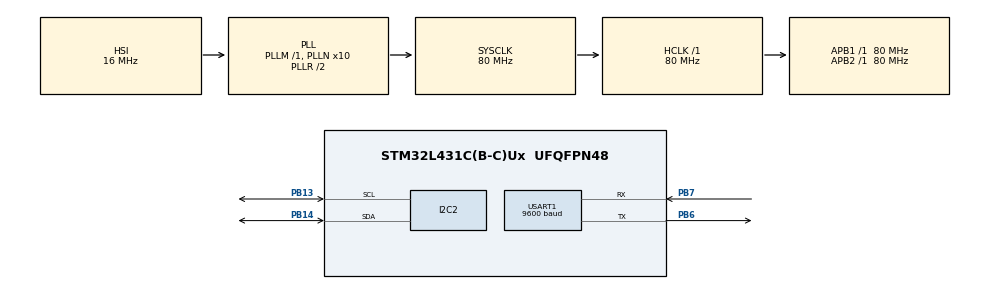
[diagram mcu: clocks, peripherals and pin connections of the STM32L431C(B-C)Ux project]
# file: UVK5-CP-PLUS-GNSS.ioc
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I2C2.I2C_Fall_Time=100
I2C2.I2C_Rise_Time=100
I2C2.OwnAddress=0x23
I2C2.Timing=0x10D19CE4
Mcu.Family=STM32L4
Mcu.Name=STM32L431C(B-C)Ux
Mcu.Package=UFQFPN48
NVIC.I2C2_EV_IRQn=true\:0\:0\:false\:false\:true\:true\:true\:true
NVIC.PriorityGroup=NVIC_PRIORITYGROUP_4
NVIC.TIM2_IRQn=true\:0\:0\:false\:false\:true\:true\:true\:true
NVIC.USART1_IRQn=true\:0\:0\:false\:false\:true\:true\:true\:true
PB13.GPIO_Pu=GPIO_PULLUP
PB13.Mode=I2C
PB13.Signal=I2C2_SCL
PB14.GPIO_Pu=GPIO_PULLUP
PB14.Mode=I2C
PB14.Signal=I2C2_SDA
PB6.Mode=Asynchronous
PB6.Signal=USART1_TX
PB7.Mode=Asynchronous
PB7.Signal=USART1_RX
PC14-OSC32_IN\ (PC14).Mode=LSE-External-Oscillator
PC14-OSC32_IN\ (PC14).Signal=RCC_OSC32_IN
PC15-OSC32_OUT\ (PC15).Mode=LSE-External-Oscillator
PC15-OSC32_OUT\ (PC15).Signal=RCC_OSC32_OUT
ProjectManager.HeapSize=0x200
ProjectManager.StackSize=0x400
ProjectManager.TargetToolchain=MDK-ARM V5.32
RCC.ADCFreq_Value=64000000
RCC.AHBFreq_Value=80000000
RCC.APB1Freq_Value=80000000
RCC.APB1TimFreq_Value=80000000
RCC.APB2Freq_Value=80000000
RCC.APB2TimFreq_Value=80000000
RCC.CortexFreq_Value=80000000
RCC.HCLKFreq_Value=80000000
RCC.HSE_VALUE=8000000
RCC.HSI48_VALUE=48000000
RCC.HSI_VALUE=16000000
RCC.MSI_VALUE=4000000
RCC.PLLN=10
RCC.PLLSourceVirtual=RCC_PLLSOURCE_HSI
RCC.RTCClockSelection=RCC_RTCCLKSOURCE_LSE
RCC.SYSCLKFreq_VALUE=80000000
RCC.SYSCLKSource=RCC_SYSCLKSOURCE_PLLCLK
RCC.VCOOutputFreq_Value=160000000
RTC.Format=RTC_FORMAT_BIN
RTC.StoreOperation=RTC_STOREOPERATION_SET
TIM2.AutoReloadPreload=TIM_AUTORELOAD_PRELOAD_ENABLE
TIM2.Period=500000
TIM2.Prescaler=80
USART1.BaudRate=9600
USART1.VirtualMode-Asynchronous=VM_ASYNC
VP_RTC_VS_RTC_Activate.Mode=RTC_Enabled
VP_RTC_VS_RTC_Calendar.Mode=RTC_Calendar
VP_TIM2_VS_ClockSourceINT.Mode=Internal
board=custom

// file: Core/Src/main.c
/* USER CODE BEGIN Header */
/**
  ******************************************************************************
  * @file           : main.c
  * @brief          : Main program body
  ******************************************************************************
  * @attention
  *
  * Copyright (c) 2024 STMicroelectronics.
  * All rights reserved.
  *
  * This software is licensed under terms that can be found in the LICENSE file
  * in the root directory of this software component.
  * If no LICENSE file comes with this software, it is provided AS-IS.
  *
  ******************************************************************************
  */
/* USER CODE END Header */
#include "main.h"
#include "i2c.h"
#include "rtc.h"
#include "tim.h"
#include "usart.h"
#include "gpio.h"

/* USER CODE BEGIN Includes */
#include "gnss.h"
#include "sgp4lib.h"
#include "time.h"
#include <stdio.h>
#include <string.h>
/* USER CODE END Includes */

/* USER CODE BEGIN PTD */
typedef struct
{
	char name[64];						//64
	struct sgp_data sgpParam;	//100
	uint32_t  	downlinkFreq;	//4		Hz
	uint32_t  	uplinkFreq;		//4		Hz
}st_satData;	//170

//--------For I2C Read-----------

// The purpose is to move as much calcluation as possible from K5 to STM32
// The UVK5 is only a "control and display device"

typedef struct
{
	uint8_t	hh;		//2
	uint8_t mm;		//2
	uint8_t ss;		//2
	int8_t tz;		//2
}st_time24MsgPack;

typedef struct
{
	// send integer+decimal
	// NOTICE:
	// The only purpose of UVK5 for longitude and latitude values is to display
	// Send integer+decimal to avoid additional calculation to save K5's flash space
	// THIS TAKES MUCH SPACE: 				sprintf(String, "%03d.%03d", siteLat_Deg, (siteLat_Deg * 1000) % 1000)
	// THIS TAKES ALMOST NO SPACE: 		sprintf(String, "%03d.%03d", siteLat_Deg, siteLat_0_001Deg)

	uint16_t siteLat_Deg;
	uint16_t siteLon_Deg;
	uint16_t siteLat_0_001Deg;
	uint16_t siteLon_0_001Deg;
	// send character to display directly
	char NS;
	char EW;
	char siteMaidenhead[8];
}st_siteInfoMsgPack;

typedef struct
{
	char name[11];						//11
	uint8_t valid;						//1
	uint32_t  	downlinkFreq;	//4
	uint32_t  	uplinkFreq;		//4
	int16_t satAz_1Deg;			//2
	int16_t satEl_1Deg;			//2
	int16_t satSpd_1mps;			//2
	int16_t downlinkDoppler;	//2
	int16_t	uplinkDoppler;		//2
}st_satStatusMsgPack;	//30

typedef struct
{
	// This az-el pair is for drawing radar-plot in UVK5
	// The drawing function in K5 only has 2-deg resolution
	// Send index in 2-deg to avoid /2 operation
	uint8_t az_2Deg[60];
	int8_t	el_2Deg[60];
	uint16_t nextEvent_sec;
	uint8_t nextEvent_mm;
	uint8_t nextEvent_ss;
}st_satPredict120min_2min;//124

/* USER CODE END PTD */

/* USER CODE BEGIN PD */
#define I2C_DIR_SLAVE_OUT		0
#define I2C_DIR_SLAVE_IN		1
#define I2C_PASSTHROUGH_BUFFER_SIZE	300
#define I2C_RXRB_INDEX(x,y)	((x+y)%I2C_PASSTHROUGH_BUFFER_SIZE)

#define FLASH_SAVE_satList_ADDR						0x08010000
#define FLASH_SAVE_satList_SIZE64					220
#define FLASH_SAVE_validSatIdx_ADDR				0x08011000
#define FLASH_SAVE_validSatIdx_SIZE64			2
#define FLASH_SAVE_siteData_ADDR					0x08011010
#define FLASH_SAVE_siteData_SIZE64				3
#define FLASH_SAVE_tz_ADDR								0x08011020
#define FLASH_SAVE_tz_SIZE64							1
#define FLASH_SAVE_site_ADDR							0x08011800
#define FLASH_SAVE_site_SIZE64						3
/* USER CODE END PD */

/* USER CODE BEGIN PV */
uint8_t validSatIdx[16];	// valid range 0~9, padding to 15 for memory alignment
uint8_t firstFix = 0;			// first gnss fix after power up
uint8_t satCalSlice = 0;	// timeslice for satellite calculate, 0~9 -> sat index 0~9
uint8_t satCalDone = 0;		// is calculate task in this slice complete
uint8_t recvGNSS = 1;			// enable gnss messagne rx
uint8_t recvGNSS_old = 1;	// for posedge detect

union
{
	st_satData satList[10];		// 0x6E0 = 1760 = 220 * u64
	uint64_t array[220];
}un_satData;

st_sgpSatStatus predSgpSatStatusTmp;	// for predict
st_sgpSatStatus satStatusList[10];		// for real-time data

union
{
	st_siteData siteData;		//24
	uint64_t array[3];
}un_siteData;

tm_t dateTime, calDateTime, predDateTime;
int8_t timeZone = 8;

union
{
	uint8_t u8Arr[2];
	uint16_t u16Addr;
} i2cAddr;

uint8_t i2cDataDirection = I2C_DIR_SLAVE_OUT;
uint8_t isI2CRegAddrRecv = 0;		// 0 - no; 1 - msb received; 2 - addr rx cplt

// uart_to_i2c passthrough: PC >-UART-> UVK5 >-I2C-> STM32, for TLE import
uint8_t i2cPassthroughBuffer[I2C_PASSTHROUGH_BUFFER_SIZE];
uint16_t i2cPassthrougBufferWritePointer = 0;
uint16_t i2cPassthrougBufferReadPointer = 0;
char i2cTleRx[5][71];
int i2cTleReadStatus;
uint8_t i2cNewTleValid = 0;
struct tle_ascii tleTmp;
uint32_t  	dlTmp;
uint32_t  	ulTmp;

// i2c com related
uint8_t *i2cDataPtr = 0;
uint16_t i2cDataPtrOffset = 0;
uint8_t i2cAddSatDataIdx = 0;
uint8_t i2cDelSatDataIdx = 0;
uint8_t i2cSatFocusMode = 0;
uint8_t i2cSatFocusIdx = 0;
struct
{
	st_siteInfoMsgPack i2cSiteInfo;
	st_time24MsgPack i2cLocalTime;
	st_satStatusMsgPack i2cSatLiveList[10];
	st_satPredict120min_2min i2cSatPredict120mList[10];
}i2cReg;
int8_t i2cTzSet = 0;

/* USER CODE END PV */

void SystemClock_Config(void);
/* USER CODE BEGIN PFP */

/*
*		TLE Format:
*		TLE+
*		{{Satellite Name}}
*		{{TLE Line1}}
*		{{TLE Line2}}
*		{{transponder uplink(earth-to-satellite) frequency in Hz}}
*		{{transponder down(satellite-to-earth) frequency in Hz}}
*		$
*/
int8_t I2C_TLEReader()
{
	uint16_t MsgRxLength;

	if (i2cPassthrougBufferReadPointer < i2cPassthrougBufferWritePointer) {
			MsgRxLength = i2cPassthrougBufferWritePointer - i2cPassthrougBufferReadPointer;
	} else {
			MsgRxLength = (i2cPassthrougBufferWritePointer + sizeof(I2C_PASSTHROUGH_BUFFER_SIZE)) - i2cPassthrougBufferReadPointer;
	}
	if (MsgRxLength < 10) return -1;

	while (1) {

		while (i2cPassthrougBufferReadPointer != i2cPassthrougBufferWritePointer &&
		(i2cPassthroughBuffer[i2cPassthrougBufferReadPointer] != 'T' ||
		i2cPassthroughBuffer[I2C_RXRB_INDEX(i2cPassthrougBufferReadPointer, 1)] != 'L' ||
		i2cPassthroughBuffer[I2C_RXRB_INDEX(i2cPassthrougBufferReadPointer, 2)] != 'E' ||
		i2cPassthroughBuffer[I2C_RXRB_INDEX(i2cPassthrougBufferReadPointer, 3)] != '+')) {
			i2cPassthrougBufferReadPointer = I2C_RXRB_INDEX(i2cPassthrougBufferReadPointer, 1);
		}

		if (i2cPassthrougBufferReadPointer == i2cPassthrougBufferWritePointer) return -2;

		if (i2cPassthrougBufferReadPointer < i2cPassthrougBufferWritePointer) {
			MsgRxLength = i2cPassthrougBufferWritePointer - i2cPassthrougBufferReadPointer;
		} else {
			MsgRxLength = (i2cPassthrougBufferWritePointer + sizeof(I2C_PASSTHROUGH_BUFFER_SIZE)) - i2cPassthrougBufferReadPointer;
		}

 		if (MsgRxLength < 10) return -3;

		int16_t endPos = -1;
		for (int i = 0; i < MsgRxLength; i++) {
			if (i2cPassthroughBuffer[I2C_RXRB_INDEX(i2cPassthrougBufferReadPointer, i)] == '$') {
				endPos = i;
				break;
			}
		}

		if (MsgRxLength > 230)
		{
			i2cPassthrougBufferReadPointer = i2cPassthrougBufferWritePointer;
			return -4;
		}
 		if (endPos == -1) return -5;

 		uint16_t readIdx = 6;
		uint8_t lineIdx = 0;
		uint8_t charIdx = 0;
		for (int i = 6; i < endPos; i++) // 'T''L''E''+''\r''\n'
		{
			char tmpChar = i2cPassthroughBuffer[I2C_RXRB_INDEX(i2cPassthrougBufferReadPointer, readIdx)];
			readIdx ++;
			if (tmpChar == '\r') continue;
			else if (tmpChar == '\n')
			{
				lineIdx ++;
				charIdx = 0;
			}
			else
			{
				i2cTleRx[lineIdx][charIdx] = tmpChar;
				charIdx ++;
			}
		}
 		i2cPassthrougBufferReadPointer = i2cPassthrougBufferWritePointer;

 		return 0;
	}
}

void SetSite(st_siteData *dst, double latDeg, double lonDeg, double altKm)
{
    dst->siteLat = latDeg * pi / 180.0f;
    dst->siteLon = lonDeg * pi / 180.0f;
    dst->siteAlt = altKm;
}

//-------------STM32 Internal RTC Moudule--------------------
void RTC_SetTime (uint8_t HH, uint8_t MM, uint8_t SS)
{
	RTC_TimeTypeDef sTime = {0};	// init by 0 to prevent 1 hour off
	sTime.Hours = HH;
	sTime.Minutes = MM;
	sTime.Seconds = SS;
	if (HAL_RTC_SetTime(&hrtc, &sTime, RTC_FORMAT_BIN) != HAL_OK)
	{
		Error_Handler();
	}
}
void RTC_SetDate (uint8_t YY, uint8_t MM, uint8_t DD)
{
	RTC_DateTypeDef sDate = {0};
	sDate.WeekDay = RTC_WEEKDAY_MONDAY;
	sDate.Month = MM;
	sDate.Date = DD;
	sDate.Year = YY;
	if (HAL_RTC_SetDate(&hrtc, &sDate, RTC_FORMAT_BIN) != HAL_OK)
	{
		Error_Handler();
	}
}
void RTC_SetDateTime(int yr, int mon, int day, int hour, int min, int sec)
{
	if (mon == 99 || day == 99 || hour == 99 || min == 99 || sec == 99) return;
	RTC_SetDate(yr, mon, day);
	RTC_SetTime(hour, min, sec);
}
void GetDateTime(tm_t* tm)
{
	RTC_DateTypeDef nowDate ;
	RTC_TimeTypeDef nowTime ;

	HAL_RTC_GetTime (&hrtc,&nowTime,RTC_FORMAT_BIN);
	HAL_RTC_GetDate(&hrtc,&nowDate,RTC_FORMAT_BIN);
	SetTmTime(tm, nowDate.Year + 2000, nowDate.Month, nowDate.Date, nowTime.Hours, nowTime.Minutes, nowTime.Seconds);
}
void ConvertTimeZone(tm_t* input, tm_t* output, int8_t zone) {

    long long unixTime = input->tv;

    unixTime += zone * 3600;

    int days = unixTime / 86400;
    int seconds = unixTime % 86400;

    output->hour = seconds / 3600;
    output->min = (seconds % 3600) / 60;
    output->sec = seconds % 60;

    int year = 1970;
    int month = 1;
    int monthDays;

    while (days >= (monthDays = GetDaysInMonth(year, month))) {
        days -= monthDays;
        if (++month > 12) {
            month = 1;
            year++;
        }
    }

    output->year = year;
    output->month = month;
    output->day = days + 1;
    output->tv = unixTime;
		output->zone = zone;
}
void Constructtime24MsgPack(st_time24MsgPack *dst, tm_t* src, int8_t tz)
{
	int8_t tmp = src->hour;
	tmp += tz;
	tmp = tmp % 24;
	dst->hh = tmp;
	dst->mm = src->min;
	dst->ss = src->sec;
	dst->tz = tz;
}
//------------------------------------------------

void SaveSiteData()
{
	int i;
	FLASH_EraseInitTypeDef myFlash;
	uint32_t pageError = 0U;

	HAL_I2C_DisableListen_IT(&hi2c2);
	HAL_NVIC_DisableIRQ(USART1_IRQn);
	myFlash.TypeErase = FLASH_TYPEERASE_PAGES;
	myFlash.Page = 35;
	myFlash.NbPages = 1;

	HAL_FLASH_Unlock();

	HAL_FLASHEx_Erase(&myFlash, &pageError);

	for (i = 0; i < FLASH_SAVE_site_SIZE64; i ++)
	{
		HAL_FLASH_Program(0, FLASH_SAVE_site_ADDR + (i * 8), un_siteData.array[i]);
	}
	HAL_FLASH_Lock();
	HAL_I2C_EnableListen_IT(&hi2c2);
	HAL_NVIC_EnableIRQ(USART1_IRQn);
}

void SaveSysData()
{
	int i;
	FLASH_EraseInitTypeDef myFlash;
	uint32_t pageError = 0U;

	HAL_I2C_DisableListen_IT(&hi2c2);
	HAL_NVIC_DisableIRQ(USART1_IRQn);
	myFlash.TypeErase = FLASH_TYPEERASE_PAGES;
	myFlash.Page = 32;
	myFlash.NbPages = 3;

	HAL_FLASH_Unlock();

	HAL_FLASHEx_Erase(&myFlash, &pageError);

	for (i = 0; i < FLASH_SAVE_satList_SIZE64; i ++)
	{
		HAL_FLASH_Program(0, FLASH_SAVE_satList_ADDR + (i * 8), un_satData.array[i]);
	}
	for (i = 0; i < FLASH_SAVE_validSatIdx_SIZE64; i ++)
	{
		HAL_FLASH_Program(0, FLASH_SAVE_validSatIdx_ADDR + (i * 8), *((uint64_t*)&validSatIdx[i * 8]));
	}
	HAL_FLASH_Program(0, FLASH_SAVE_tz_ADDR, timeZone + 12);
	HAL_FLASH_Lock();
	HAL_I2C_EnableListen_IT(&hi2c2);
	HAL_NVIC_EnableIRQ(USART1_IRQn);
}

void RestoreSysData()
{
	int i;
	timeZone = *((uint8_t *)FLASH_SAVE_tz_ADDR) - 12;
	for (i = 0; i < FLASH_SAVE_satList_SIZE64; i ++)
	{
		un_satData.array[i] = *((uint64_t*)FLASH_SAVE_satList_ADDR + i);
	}
	*(uint64_t*)&validSatIdx[0] = *(uint64_t*)FLASH_SAVE_validSatIdx_ADDR;
	*(uint64_t*)&validSatIdx[8] = *((uint64_t*)FLASH_SAVE_validSatIdx_ADDR + 1);

	for (i = 0; i < FLASH_SAVE_site_SIZE64; i ++)
	{
		un_siteData.array[i] = *((uint64_t*)FLASH_SAVE_site_ADDR + i);
	}
}

uint8_t LatLon2Maindenhead(double latDeg, double lonDeg, char* dst) {
    if (dst == NULL) {
        return 1;
    }

    while (lonDeg < -180.0) lonDeg += 360.0;
    while (lonDeg > 180.0) lonDeg -= 360.0;

    if (latDeg < -90.0 || latDeg > 90.0) {
        return 2;
    }

    // convert lat and lon to maidenhead range
    lonDeg += 180.0;  // 0-360
    latDeg += 90.0;   // 0-180

    // calculate 1st pair (field)
    dst[0] = 'A' + (int)(lonDeg / 20.0);
    dst[1] = 'A' + (int)(latDeg / 10.0);

    // calculate 2nd pair (block)
    dst[2] = '0' + (int)((int)lonDeg % 20) / 2;
    dst[3] = '0' + (int)((int)latDeg % 10);

    // calculate 3rd pair (sub block)
    dst[4] = 'A' + (int)((lonDeg - (int)lonDeg) *12.0);
    dst[5] = 'A' + (int)((latDeg - (int)latDeg)* 24.0);

    // end
    dst[6] = '\0';

    return 0;
}
/* USER CODE END PFP */

int main(void)
{

  /* MCU Configuration--------------------------------------------------------*/

  /* Reset of all peripherals, Initializes the Flash interface and the Systick. */
  HAL_Init();

  /* Configure the system clock */
  SystemClock_Config();

  /* Initialize all configured peripherals */
  MX_GPIO_Init();
  MX_I2C2_Init();
  MX_RTC_Init();
  MX_TIM2_Init();
  MX_USART1_UART_Init();
  /* USER CODE BEGIN 2 */
	HAL_TIM_Base_Start_IT(&htim2);
	HAL_I2C_EnableListen_IT(&hi2c2);
	HAL_UARTEx_ReceiveToIdle_IT(&huart1, &gnss_rx, 1);

//#define INIT_FLASH		1
#ifdef INIT_FLASH
	int aa;
	SetSite(&un_siteData.siteData, 30, 120, 0);
	RTC_SetDateTime(25, 2, 26, 8, 0, 0);
	timeZone = 8;
	strcpy(tleTmp.l[0], "ISS");
	strcpy(tleTmp.l[1], "1 25544U 98067A   25057.69551956  .00051272  00000-0  91556-3 0  9991");
	strcpy(tleTmp.l[2], "2 25544  51.6387 134.2889 0005831 315.8203 179.6729 15.49515680498024");
	strcpy(un_satData.satList[0].name, tleTmp.l[0]);
	un_satData.satList[0].downlinkFreq = 437800000;
	un_satData.satList[0].uplinkFreq = 145990000;
	Convert_Satellite_Data(tleTmp, &un_satData.satList[0].sgpParam);
	validSatIdx[0] = 1;
	strcpy(tleTmp.l[0], "RS-44");
	strcpy(tleTmp.l[1], "1 44909U 19096E   25057.59056133  .00000048  00000-0  14707-3 0  9996");
	strcpy(tleTmp.l[2], "2 44909  82.5204 295.7264 0217445 176.1243 184.1608 12.79738608241568");
	strcpy(un_satData.satList[1].name, tleTmp.l[0]);
	un_satData.satList[1].downlinkFreq = 	435640000;
	un_satData.satList[1].uplinkFreq = 		145965000;
	validSatIdx[1] = 1;
	Convert_Satellite_Data(tleTmp, &un_satData.satList[1].sgpParam);
	SaveSysData();
	SaveSiteData();
#else
	RestoreSysData();
#endif

  /* USER CODE END 2 */

  /* Infinite loop */
  while (1)
  {

    /* USER CODE BEGIN 3 */

		recvGNSS = !i2cSatFocusMode;	// stop receive GNSS message while focus mode enabled
		if (!recvGNSS_old && recvGNSS)
		{
			// idk why but i should send this command twice to restart uart listening
			HAL_UARTEx_ReceiveToIdle_IT(&huart1, &gnss_rx, 1);
			HAL_UARTEx_ReceiveToIdle_IT(&huart1, &gnss_rx, 1);
		}
		recvGNSS_old = recvGNSS;

		// GNSS message process
		if (recvGNSS)
		{
			if (GNSS_CheckMsg() == 0)
			{
				if (GNSS_ProcessMsg() == 1 && GNSS.valid == 1)
				{
					SetSite(&un_siteData.siteData, GNSS.latitude_deg, GNSS.longitude_deg, GNSS.altitude_m / 1000.0f);
					RTC_SetDateTime(GNSS.utc_year - 2000, GNSS.utc_month, GNSS.utc_day, GNSS.utc_hour, GNSS.utc_minute, GNSS.utc_second);
					if (!firstFix)
					{
						// Save site data to flash after first GNSS fix
						firstFix = 1;
						SaveSiteData();
					}
				}
			}
		}

		// has pending calculate task?
		if (!satCalDone)
		{
			satCalDone = 1;

			// update i2c msg pack
			i2cReg.i2cSatLiveList[satCalSlice].valid = validSatIdx[satCalSlice];
			memcpy(i2cReg.i2cSatLiveList[satCalSlice].name, un_satData.satList[satCalSlice].name, 10);
			i2cReg.i2cSatLiveList[satCalSlice].downlinkFreq = un_satData.satList[satCalSlice].downlinkFreq;
			i2cReg.i2cSatLiveList[satCalSlice].uplinkFreq = un_satData.satList[satCalSlice].uplinkFreq;

			// only calculate valid sat
			if (validSatIdx[satCalSlice] != 0)
			{
				uint16_t predSec;
				int32_t diffUp, diffDn;
				int8_t elTmp;
				uint8_t alreadyAoS = 0;
				uint8_t pred2MinIdx = 0, aosLos2MinMark = 0;

				memcpy(&calDateTime, &dateTime, 64);
				SGP4_FindSatStatus(calDateTime, &un_satData.satList[satCalSlice].sgpParam, &un_siteData.siteData, &satStatusList[satCalSlice]);

				// trasnform data into i2c pack
				i2cReg.i2cSatLiveList[satCalSlice].satAz_1Deg = satStatusList[satCalSlice].satAz;
				i2cReg.i2cSatLiveList[satCalSlice].satEl_1Deg = satStatusList[satCalSlice].satEl;
				i2cReg.i2cSatLiveList[satCalSlice].satSpd_1mps = satStatusList[satCalSlice].satSpd * 1000;
				diffUp = un_satData.satList[satCalSlice].uplinkFreq / 299792 * satStatusList[satCalSlice].satSpd;
				i2cReg.i2cSatLiveList[satCalSlice].uplinkDoppler = diffUp;
				diffDn = un_satData.satList[satCalSlice].downlinkFreq / 299792 * satStatusList[satCalSlice].satSpd;
				i2cReg.i2cSatLiveList[satCalSlice].downlinkDoppler = diffDn;
				i2cReg.i2cSatPredict120mList[satCalSlice].az_2Deg[0] = satStatusList[satCalSlice].satAz / 2;
				i2cReg.i2cSatPredict120mList[satCalSlice].el_2Deg[0] = satStatusList[satCalSlice].satEl / 2;

				if (i2cSatFocusMode)
				{
					elTmp = satStatusList[satCalSlice].satEl / 2;
					if (elTmp >= 0) alreadyAoS = 1;
					pred2MinIdx = 1;
					for (predSec = (2 * 60); predSec < (120 * 60); predSec += (2 * 60))
					{
						SGP4_AddTime(predSec, &calDateTime, &predDateTime);
						SGP4_FindSatStatus(predDateTime, &un_satData.satList[satCalSlice].sgpParam, &un_siteData.siteData, &predSgpSatStatusTmp);
						i2cReg.i2cSatPredict120mList[satCalSlice].az_2Deg[pred2MinIdx] = predSgpSatStatusTmp.satAz / 2;
						i2cReg.i2cSatPredict120mList[satCalSlice].el_2Deg[pred2MinIdx] = predSgpSatStatusTmp.satEl / 2;
						elTmp = predSgpSatStatusTmp.satEl;

						// No AOSLOS record + Not already AOS + Rise
						// No AOSLOS record + Already AOS + Fall
						// ==> Record time mark
						if ((aosLos2MinMark == 0) && ((!alreadyAoS && elTmp > 0)|| (alreadyAoS && elTmp <= 0))) aosLos2MinMark = pred2MinIdx;
						pred2MinIdx ++;
					}
					// if a mark exist, search previous 120s for the exact second
					if (aosLos2MinMark != 0)
					{
						for (predSec = ((aosLos2MinMark - 1) * 120); predSec < (aosLos2MinMark * 120); predSec ++)
						{
							SGP4_AddTime(predSec, &calDateTime, &predDateTime);
							SGP4_FindSatStatus(predDateTime, &un_satData.satList[satCalSlice].sgpParam, &un_siteData.siteData, &predSgpSatStatusTmp);
							elTmp = predSgpSatStatusTmp.satEl;
							if ((!alreadyAoS && elTmp > 0)|| (alreadyAoS && elTmp <= 0))
							{
								i2cReg.i2cSatPredict120mList[satCalSlice].nextEvent_sec = predSec;
								i2cReg.i2cSatPredict120mList[satCalSlice].nextEvent_mm = predSec / 60;
								i2cReg.i2cSatPredict120mList[satCalSlice].nextEvent_ss = predSec % 60;
								break;
							}
						}
					}
				}
			}
		}
  }
  /* USER CODE END 3 */
}

void SystemClock_Config(void)
{
  RCC_OscInitTypeDef RCC_OscInitStruct = {0};
  RCC_ClkInitTypeDef RCC_ClkInitStruct = {0};

  /** Configure the main internal regulator output voltage
  */
  if (HAL_PWREx_ControlVoltageScaling(PWR_REGULATOR_VOLTAGE_SCALE1) != HAL_OK)
  {
    Error_Handler();
  }

  /** Configure LSE Drive Capability
  */
  HAL_PWR_EnableBkUpAccess();
  __HAL_RCC_LSEDRIVE_CONFIG(RCC_LSEDRIVE_LOW);

  /** Initializes the RCC Oscillators according to the specified parameters
  * in the RCC_OscInitTypeDef structure.
  */
  RCC_OscInitStruct.OscillatorType = RCC_OSCILLATORTYPE_HSI|RCC_OSCILLATORTYPE_LSE;
  RCC_OscInitStruct.LSEState = RCC_LSE_ON;
  RCC_OscInitStruct.HSIState = RCC_HSI_ON;
  RCC_OscInitStruct.HSICalibrationValue = RCC_HSICALIBRATION_DEFAULT;
  RCC_OscInitStruct.PLL.PLLState = RCC_PLL_ON;
  RCC_OscInitStruct.PLL.PLLSource = RCC_PLLSOURCE_HSI;
  RCC_OscInitStruct.PLL.PLLM = 1;
  RCC_OscInitStruct.PLL.PLLN = 10;
  RCC_OscInitStruct.PLL.PLLP = RCC_PLLP_DIV7;
  RCC_OscInitStruct.PLL.PLLQ = RCC_PLLQ_DIV2;
  RCC_OscInitStruct.PLL.PLLR = RCC_PLLR_DIV2;
  if (HAL_RCC_OscConfig(&RCC_OscInitStruct) != HAL_OK)
  {
    Error_Handler();
  }

  /** Initializes the CPU, AHB and APB buses clocks
  */
  RCC_ClkInitStruct.ClockType = RCC_CLOCKTYPE_HCLK|RCC_CLOCKTYPE_SYSCLK
                              |RCC_CLOCKTYPE_PCLK1|RCC_CLOCKTYPE_PCLK2;
  RCC_ClkInitStruct.SYSCLKSource = RCC_SYSCLKSOURCE_PLLCLK;
  RCC_ClkInitStruct.AHBCLKDivider = RCC_SYSCLK_DIV1;
  RCC_ClkInitStruct.APB1CLKDivider = RCC_HCLK_DIV1;
  RCC_ClkInitStruct.APB2CLKDivider = RCC_HCLK_DIV1;

  if (HAL_RCC_ClockConfig(&RCC_ClkInitStruct, FLASH_LATENCY_4) != HAL_OK)
  {
    Error_Handler();
  }
}

/* USER CODE BEGIN 4 */

// 200ms
void HAL_TIM_PeriodElapsedCallback(TIM_HandleTypeDef *htim)
{
	if(htim == &htim2)
	{
		GetDateTime(&dateTime);
		Constructtime24MsgPack(&i2cReg.i2cLocalTime, &dateTime, timeZone);
		double tmpLa = un_siteData.siteData.siteLat / pi * 180;
		double tmpLo = un_siteData.siteData.siteLon / pi * 180;

		if (tmpLa > 0)
		{
			i2cReg.i2cSiteInfo.NS = 'N';
		}
		else
		{
			tmpLa = -tmpLa;
			i2cReg.i2cSiteInfo.NS = 'S';
		}

		if (tmpLo > 0)
		{
			i2cReg.i2cSiteInfo.EW = 'E';
		}
		else
		{
			tmpLo = -tmpLo;
			i2cReg.i2cSiteInfo.EW = 'W';
		}

		i2cReg.i2cSiteInfo.siteLat_Deg = (int)tmpLa;
		i2cReg.i2cSiteInfo.siteLat_0_001Deg = ((int)(tmpLa * 1000) % 1000);
		i2cReg.i2cSiteInfo.siteLon_Deg = (int)tmpLo;
		i2cReg.i2cSiteInfo.siteLon_0_001Deg = ((int)(tmpLo * 1000) % 1000);

		LatLon2Maindenhead(tmpLa, tmpLo, i2cReg.i2cSiteInfo.siteMaidenhead);
		satCalDone = 0;
		if (i2cSatFocusMode) satCalSlice = i2cSatFocusIdx;
		else
		{
			satCalSlice ++;
			satCalSlice = satCalSlice % 10;
		}
	}
}

void HAL_UARTEx_RxEventCallback(UART_HandleTypeDef *huart, uint16_t Size)
{
	if (recvGNSS == 1)
	{
		GNSS_UartRecv();
		HAL_UARTEx_ReceiveToIdle_IT(&huart1, &gnss_rx, 1);
	}
}

// After an COMPLETED i2c com
void HAL_I2C_ListenCpltCallback(I2C_HandleTypeDef *hi2c)
{
  isI2CRegAddrRecv = 0;
	if (i2cDataDirection == I2C_DIR_SLAVE_IN)
	{
		if (i2cAddr.u16Addr == 0x0080)
		{
			timeZone = i2cTzSet;
			SaveSysData();
		}
		else if (i2cAddr.u16Addr == 0x0010)
		{
			if (!i2cNewTleValid) return;
			if (i2cAddSatDataIdx < 10)
			{
				strcpy(un_satData.satList[i2cAddSatDataIdx].name, tleTmp.l[0]);
				un_satData.satList[i2cAddSatDataIdx].downlinkFreq = dlTmp;
				un_satData.satList[i2cAddSatDataIdx].uplinkFreq = ulTmp;
				validSatIdx[i2cAddSatDataIdx] = 1;
				Convert_Satellite_Data(tleTmp, &un_satData.satList[i2cAddSatDataIdx].sgpParam);
				SaveSysData();
			}
		}
		else if (i2cAddr.u16Addr == 0x0011)
		{
			if (i2cDelSatDataIdx < 10)
			{
				validSatIdx[i2cDelSatDataIdx] = 0;

				SaveSysData();
			}
		}
		else if (i2cAddr.u16Addr == 0x0081)
		{
			i2cNewTleValid = 0;
			i2cPassthrougBufferWritePointer += i2cDataPtrOffset;
			i2cPassthrougBufferWritePointer = i2cPassthrougBufferWritePointer % I2C_PASSTHROUGH_BUFFER_SIZE;
			i2cTleReadStatus = I2C_TLEReader();
			if (i2cTleReadStatus == 0)
			{
				memcpy(tleTmp.l[0], i2cTleRx[0], 71);
				memcpy(tleTmp.l[1], i2cTleRx[1], 71);
				memcpy(tleTmp.l[2], i2cTleRx[2], 71);
				sscanf((char*)i2cTleRx[3], "%d", &ulTmp);
				sscanf((char*)i2cTleRx[4], "%d", &dlTmp);
				i2cNewTleValid = 1;
			}
		}
	}
  HAL_I2C_EnableListen_IT(hi2c); // slave is ready again
}
// After device addr match
void HAL_I2C_AddrCallback(I2C_HandleTypeDef *hi2c, uint8_t TransferDirection, uint16_t AddrMatchCode)
{
  if(TransferDirection == I2C_DIRECTION_TRANSMIT)
  {
		i2cDataDirection = I2C_DIR_SLAVE_IN;
    if(isI2CRegAddrRecv == 0)
    {
			// Ready to receive reg addr
      HAL_I2C_Slave_Seq_Receive_IT(hi2c, &i2cAddr.u8Arr[0], 1, I2C_NEXT_FRAME);
    }
  }
  else
  {
		i2cDataDirection = I2C_DIR_SLAVE_OUT;
		// Transmit data
		HAL_I2C_Slave_Seq_Transmit_IT(hi2c, (uint8_t*)(i2cDataPtr + i2cDataPtrOffset), 1, I2C_NEXT_FRAME);
  }
}

void HAL_I2C_SlaveRxCpltCallback(I2C_HandleTypeDef *hi2c)
{
	if (isI2CRegAddrRecv == 0)
	{
		isI2CRegAddrRecv = 1;
		i2cDataPtrOffset = 0;
		HAL_I2C_Slave_Seq_Receive_IT(hi2c, &i2cAddr.u8Arr[1], 1, I2C_NEXT_FRAME);
		i2cPassthrougBufferWritePointer = 0;
		i2cPassthrougBufferReadPointer = 0;
	}
	else if (isI2CRegAddrRecv == 1)
	{
		isI2CRegAddrRecv = 2;

		// check addr
		if (i2cAddr.u16Addr < 0x0100)	// 0x0000 misc data
		{
			switch (i2cAddr.u16Addr)
			{
				case 0x0000: i2cDataPtr = (uint8_t*)&i2cReg.i2cSiteInfo; break;		// Site
				case 0x0001: i2cDataPtr = (uint8_t*)&i2cReg.i2cLocalTime; break;	// Time(local, with timezone)
				case 0x0002: i2cDataPtr = gnss_gga; break;												// Last GPGGA message
				case 0x0003: i2cDataPtr = gnss_rmc; break;												// Last GPRMC message
				case 0x0004: i2cDataPtr = &GNSS.valid; break;											// GNSS valid flag

				// TLE import
				// 1. Send TLE in specific format (mentioned above) through UART2I2C-PASSTHROUGH
				// 2. If the TLE is valid, the 0x0083: i2cNewTleValid byte is asserted
				// 3. Send desired save slot(0~9) to 0x0010: i2cAddSatDataIdx
				// 4. The last imported TLE is converted and saved in un_satData.satList[i2cAddSatDataIdx]
				// Remove Sat
				// 1. Send the index of the sat to be deleted to 0x0011: i2cDelSatDataIdx
				// 2. The "valid" field in that slot will be set to 0
				case 0x0010: i2cDataPtr = &i2cAddSatDataIdx; break;
				case 0x0011: i2cDataPtr = &i2cDelSatDataIdx; break;

				case 0x0012: i2cDataPtr = &i2cSatFocusMode; break;
				case 0x0013: i2cDataPtr = &i2cSatFocusIdx; break;

				// Send new Time Zone (-12~+12) to 0x0080: i2cTzSet to set new Time Zone
				case 0x0080: i2cDataPtr = (uint8_t*)&i2cTzSet; break;
				// UART2I2C PASSTHROUGH rx address = 0x0081
				case 0x0081: i2cDataPtr = &i2cPassthroughBuffer[i2cPassthrougBufferWritePointer]; break;
				// Last imported TLE = 0x0082
				case 0x0082: i2cDataPtr = (uint8_t*)i2cTleRx; break;
				case 0x0083: i2cDataPtr = &i2cNewTleValid; break;

				default: break;
			};
		}
		else if (i2cAddr.u16Addr < 0x0200)	// 0x0100~0x0109 sat live data
		{
			i2cDataPtr = (uint8_t*)&i2cReg.i2cSatLiveList[i2cAddr.u16Addr - 0x100];
		}
		else if (i2cAddr.u16Addr < 0x0300)	// 0x0200~0x0209 sat pred data
		{
			i2cDataPtr = (uint8_t*)&i2cReg.i2cSatPredict120mList[i2cAddr.u16Addr - 0x200];
		}
		HAL_I2C_Slave_Seq_Receive_IT(hi2c, (uint8_t*)(i2cDataPtr + i2cDataPtrOffset), 1, I2C_NEXT_FRAME);
	}
	else
	{
		i2cDataPtrOffset ++;
		HAL_I2C_Slave_Seq_Receive_IT(hi2c, (uint8_t*)(i2cDataPtr + i2cDataPtrOffset), 1, I2C_NEXT_FRAME);
	}
}

void HAL_I2C_SlaveTxCpltCallback(I2C_HandleTypeDef *hi2c)
{
  i2cDataPtrOffset++;
  HAL_I2C_Slave_Seq_Transmit_IT(hi2c, (uint8_t*)(i2cDataPtr + i2cDataPtrOffset), 1, I2C_NEXT_FRAME);
}

/* USER CODE END 4 */

void Error_Handler(void)
{
  __disable_irq();
  while (1)
  {
  }
}
